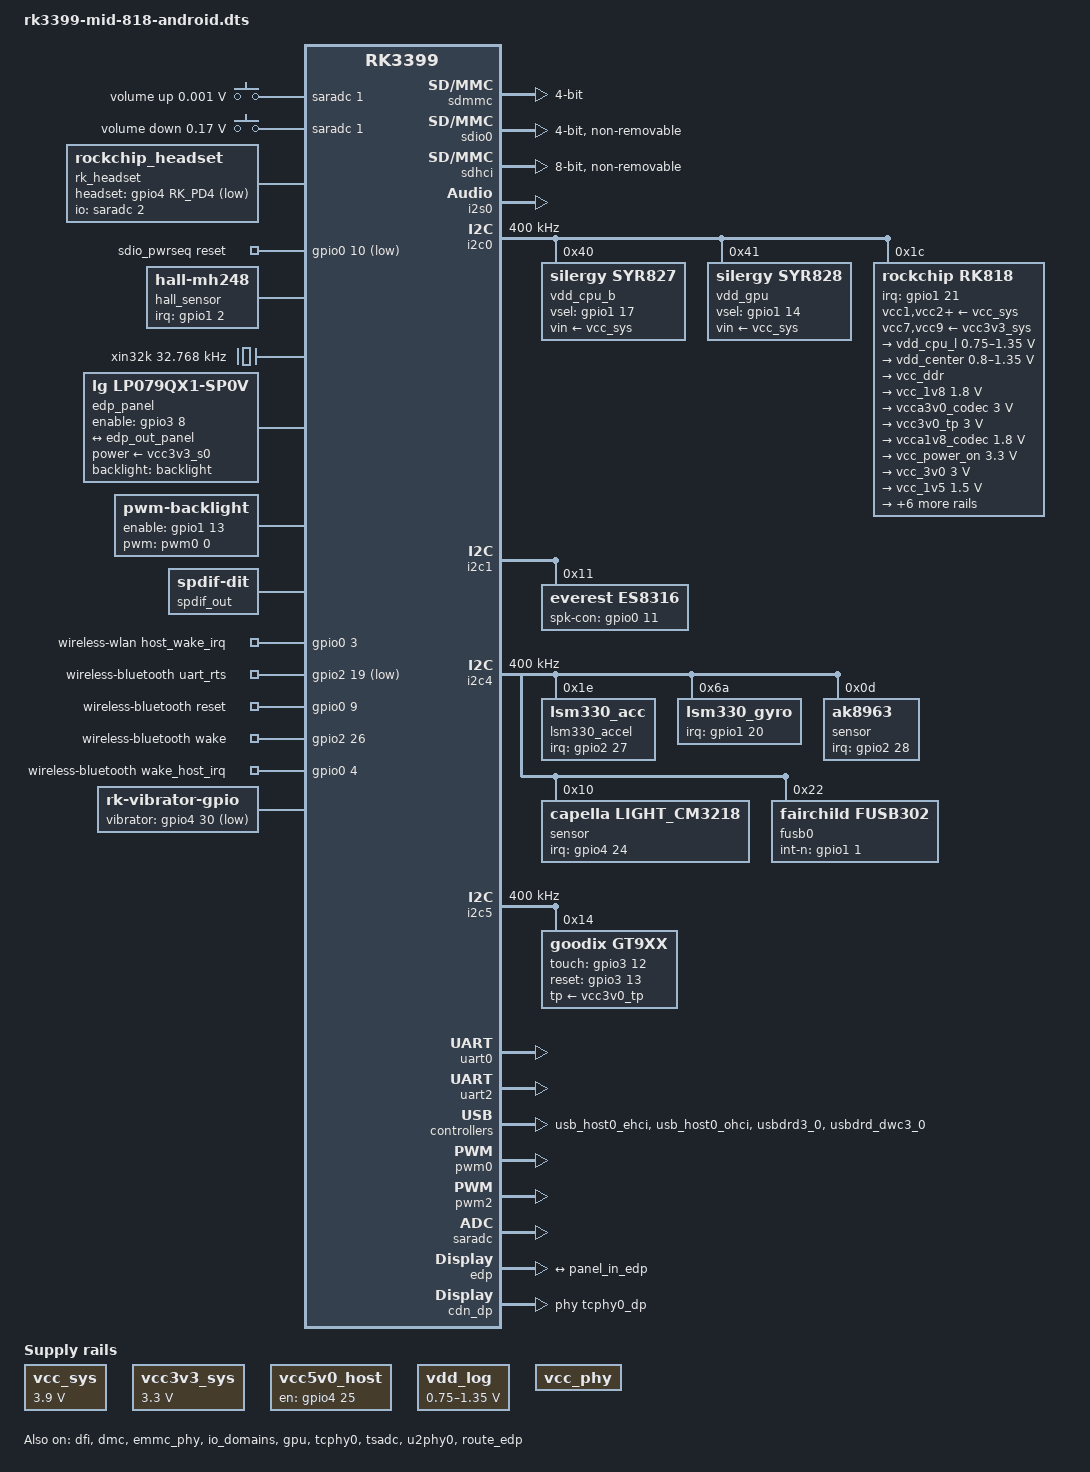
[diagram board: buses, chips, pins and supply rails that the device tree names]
/*
 * Copyright (c) 2016 Fuzhou Rockchip Electronics Co., Ltd
 *
 * This file is dual-licensed: you can use it either under the terms
 * of the GPL or the X11 license, at your option. Note that this dual
 * licensing only applies to this file, and not this project as a
 * whole.
 *
 *  a) This file is free software; you can redistribute it and/or
 *     modify it under the terms of the GNU General Public License as
 *     published by the Free Software Foundation; either version 2 of the
 *     License, or (at your option) any later version.
 *
 *     This file is distributed in the hope that it will be useful,
 *     but WITHOUT ANY WARRANTY; without even the implied warranty of
 *     MERCHANTABILITY or FITNESS FOR A PARTICULAR PURPOSE.  See the
 *     GNU General Public License for more details.
 *
 * Or, alternatively,
 *
 *  b) Permission is hereby granted, free of charge, to any person
 *     obtaining a copy of this software and associated documentation
 *     files (the "Software"), to deal in the Software without
 *     restriction, including without limitation the rights to use,
 *     copy, modify, merge, publish, distribute, sublicense, and/or
 *     sell copies of the Software, and to permit persons to whom the
 *     Software is furnished to do so, subject to the following
 *     conditions:
 *
 *     The above copyright notice and this permission notice shall be
 *     included in all copies or substantial portions of the Software.
 *
 *     THE SOFTWARE IS PROVIDED "AS IS", WITHOUT WARRANTY OF ANY KIND,
 *     EXPRESS OR IMPLIED, INCLUDING BUT NOT LIMITED TO THE WARRANTIES
 *     OF MERCHANTABILITY, FITNESS FOR A PARTICULAR PURPOSE AND
 *     NONINFRINGEMENT. IN NO EVENT SHALL THE AUTHORS OR COPYRIGHT
 *     HOLDERS BE LIABLE FOR ANY CLAIM, DAMAGES OR OTHER LIABILITY,
 *     WHETHER IN AN ACTION OF CONTRACT, TORT OR OTHERWISE, ARISING
 *     FROM, OUT OF OR IN CONNECTION WITH THE SOFTWARE OR THE USE OR
 *     OTHER DEALINGS IN THE SOFTWARE.
 */

/dts-v1/;
#include <dt-bindings/sensor-dev.h>
#include <dt-bindings/input/input.h>
#include <dt-bindings/display/mipi_dsi.h>
#include <dt-bindings/pwm/pwm.h>
#include "rk3399.dtsi"
#include "rk3399-android.dtsi"
#include "rk3399-opp.dtsi"
#include "rk3399-vop-clk-set.dtsi"

/ {
	compatible = "rockchip,rk3399-mid", "rockchip,rk3399";
	chosen: chosen {
		bootargs = "earlycon=uart8250,mmio32,0xff1a0000 console=ttyFIQ0 androidboot.baseband=N/A androidboot.veritymode=enforcing androidboot.hardware=rk30board androidboot.console=ttyFIQ0 init=/init initrd=0x62000001,0x00800000 coherent_pool=1m";
	};

	adc_keys {
		compatible = "adc-keys";
		io-channels = <&saradc 1>;
		io-channel-names = "buttons";
		keyup-threshold-microvolt = <1800000>;
		poll-interval = <100>;

		vol-up-key {
			label = "volume up";
			linux,code = <KEY_VOLUMEUP>;
			press-threshold-microvolt = <1000>;
		};

		vol-down-key {
			label = "volume down";
			linux,code = <KEY_VOLUMEDOWN>;
			press-threshold-microvolt = <170000>;
		};
	};

	rk_headset: rk-headset {
		compatible = "rockchip_headset";
		headset_gpio = <&gpio4 RK_PD4 GPIO_ACTIVE_LOW>;
		pinctrl-names = "default";
		pinctrl-0 = <&hp_det>;
		io-channels = <&saradc 2>;
	};

	charge-animation {
		compatible = "rockchip,uboot-charge";
		rockchip,uboot-charge-on = <1>;
		rockchip,android-charge-on = <0>;
		rockchip,uboot-low-power-voltage = <6700>;
		rockchip,screen-on-voltage = <6800>;
		status = "okay";
	};

	sdio_pwrseq: sdio-pwrseq {
		compatible = "mmc-pwrseq-simple";
		clocks = <&rk818 1>;
		clock-names = "ext_clock";
		pinctrl-names = "default";
		pinctrl-0 = <&wifi_enable_h>;

		/*
		 * On the module itself this is one of these (depending
		 * on the actual card populated):
		 * - SDIO_RESET_L_WL_REG_ON
		 * - PDN (power down when low)
		 */
		reset-gpios = <&gpio0 10 GPIO_ACTIVE_LOW>; /* GPIO0_B2 */
	};

	hall_sensor: hall-mh248 {
		compatible = "hall-mh248";
		pinctrl-names = "default";
		pinctrl-0 = <&mh248_irq_gpio>;
		irq-gpio = <&gpio1 2 IRQ_TYPE_EDGE_BOTH>;
		hall-active = <1>;
		status = "okay";
	};

	vcc_sys: vcc-sys {
		compatible = "regulator-fixed";
		regulator-name = "vcc_sys";
		regulator-always-on;
		regulator-boot-on;
		regulator-min-microvolt = <3900000>;
		regulator-max-microvolt = <3900000>;
	};

	vcc3v3_sys: vcc3v3-sys {
		compatible = "regulator-fixed";
		regulator-name = "vcc3v3_sys";
		regulator-always-on;
		regulator-boot-on;
		regulator-min-microvolt = <3300000>;
		regulator-max-microvolt = <3300000>;
	};

	vcc5v0_host: vcc5v0-host-regulator {
		compatible = "regulator-fixed";
		enable-active-high;
		gpio = <&gpio4 25 GPIO_ACTIVE_HIGH>;
		pinctrl-names = "default";
		pinctrl-0 = <&host_vbus_drv>;
		regulator-name = "vcc5v0_host";
		regulator-always-on;
	};

	vdd_log: vdd-log {
		compatible = "pwm-regulator";
		pwms = <&pwm2 0 25000 1>;
		rockchip,pwm_id= <2>;
		rockchip,pwm_voltage = <900000>;
		regulator-name = "vdd_log";
		regulator-min-microvolt = <750000>;
		regulator-max-microvolt = <1350000>;
		regulator-always-on;
		regulator-boot-on;
	};

	xin32k: xin32k {
		compatible = "fixed-clock";
		clock-frequency = <32768>;
		clock-output-names = "xin32k";
		#clock-cells = <0>;
	};

	edp_panel: edp-panel {
		compatible = "lg,lp079qx1-sp0v", "panel-simple";
		bus-format = <MEDIA_BUS_FMT_RGB666_1X18>;
		bpc = <6>;
		backlight = <&backlight>;
		power-supply = <&vcc3v3_s0>;
		enable-gpios = <&gpio3 8 GPIO_ACTIVE_HIGH>;
		ports {
			panel_in_edp: endpoint {
				remote-endpoint = <&edp_out_panel>;
			};
		};
	};

	backlight: backlight {
		compatible = "pwm-backlight";
		pwms = <&pwm0 0 25000 0>;
		brightness-levels = <
			255 200 199 198 197 197 196 195 194 193 193 192
			191 190 189 189 188 187 186 185 185 184 183 182
			181 181 180 179 178 177 177 176 175 174 173 173
			172 171 170 169 169 168 167 166 165 165 164 163
			162 161 161 160 159 158 157 157 156 155 154 153
			153 152 151 150 149 149 148 147 146 145 145 144
			143 142 141 141 140 139 138 137 137 136 135 134
			133 133 132 131 130 129 129 128 127 126 125 125
			124 123 122 121 121 120 119 118 117 117 116 115
			114 113 113 112 111 110 109 109 108 107 106 105
			105 104 103 102 101 101 100  99  98  97  97  96
			 95  94  93  93  92  91  90  89  89  88  87  86
			 85  85  84  83  82  81  81  80  79  78  77  77
			 76  75  74  73  73  72  71  70  69  69  68  67
			 66  65  65  64  63  62  61  61  60  59  58  57
			 57  56  55  54  53  53  52  51  50  49  49  48
			 47  46  45  45  44  43  42  41  41  40  39  38
			 37  37  36  35  34  33  33  32  31  30  29  29
			 28  27  26  25  25  24  23  22  21  21  20  19
			 18  17  17  16  15  14  13  13  12  11  10   9
			  9   8   7   6   5   5   4   3   2   1   1   0
			  0   0   0   0>;
		default-brightness-level = <200>;
		enable-gpios = <&gpio1 13 GPIO_ACTIVE_HIGH>;
	};

	vcc_phy: vcc-phy-regulator {
		compatible = "regulator-fixed";
		regulator-name = "vcc_phy";
		regulator-always-on;
		regulator-boot-on;
	};

	es8316-sound {
		compatible = "simple-audio-card";
		simple-audio-card,format = "i2s";
		simple-audio-card,name = "rockchip,es8316-codec";
		simple-audio-card,mclk-fs = <256>;
		simple-audio-card,widgets =
			"Microphone", "Mic Jack",
			"Headphone", "Headphone Jack";
		simple-audio-card,routing =
			"Mic Jack", "MICBIAS1",
			"IN1P", "Mic Jack",
			"Headphone Jack", "HPOL",
			"Headphone Jack", "HPOR";
		simple-audio-card,cpu {
			sound-dai = <&i2s0>;
		};
		simple-audio-card,codec {
			sound-dai = <&es8316>;
		};
	};

	spdif-sound {
		compatible = "simple-audio-card";
		simple-audio-card,name = "rockchip,spdif";
		simple-audio-card,cpu {
			sound-dai = <&spdif>;
		};
		simple-audio-card,codec {
			sound-dai = <&spdif_out>;
		};
	};

	spdif_out: spdif-out {
		compatible = "linux,spdif-dit";
		#sound-dai-cells = <0>;
	};

	sdio_pwrseq: sdio-pwrseq {
		compatible = "mmc-pwrseq-simple";
		clocks = <&rk818 1>;
		clock-names = "ext_clock";
		pinctrl-names = "default";
		pinctrl-0 = <&wifi_enable_h>;

		/*
		 * On the module itself this is one of these (depending
		 * on the actual card populated):
		 * - SDIO_RESET_L_WL_REG_ON
		 * - PDN (power down when low)
		 */
		reset-gpios = <&gpio0 10 GPIO_ACTIVE_LOW>; /* GPIO0_B2 */
	};

	wireless-wlan {
		compatible = "wlan-platdata";
		rockchip,grf = <&grf>;
		wifi_chip_type = "ap6354";
		sdio_vref = <1800>;
		WIFI,host_wake_irq = <&gpio0 3 GPIO_ACTIVE_HIGH>; /* GPIO0_a3 */
		status = "okay";
	};

	wireless-bluetooth {
		compatible = "bluetooth-platdata";
		clocks = <&rk818 1>;
		clock-names = "ext_clock";
		//wifi-bt-power-toggle;
		uart_rts_gpios = <&gpio2 19 GPIO_ACTIVE_LOW>; /* GPIO2_C3 */
		pinctrl-names = "default", "rts_gpio";
		pinctrl-0 = <&uart0_rts>, <&bt_reset_gpio>, <&bt_wake_gpio>, <&bt_irq_gpio>;
		pinctrl-1 = <&uart0_gpios>;
		//BT,power_gpio  = <&gpio3 19 GPIO_ACTIVE_HIGH>; /* GPIOx_xx */
		BT,reset_gpio    = <&gpio0 9 GPIO_ACTIVE_HIGH>; /* GPIO0_B1 */
		BT,wake_gpio     = <&gpio2 26 GPIO_ACTIVE_HIGH>; /* GPIO2_D2 */
		BT,wake_host_irq = <&gpio0 4 GPIO_ACTIVE_HIGH>; /* GPIO0_A4 */
		status = "okay";
	};

	vibrator {
		compatible = "rk-vibrator-gpio";
		vibrator-gpio = <&gpio4 30 GPIO_ACTIVE_LOW>;
		status = "okay";
	};

};

&dfi {
	status = "okay";
};

&dmc {
	status = "okay";
	center-supply = <&vdd_center>;
	upthreshold = <40>;
	downdifferential = <20>;
	system-status-freq = <
		/*system status         freq(KHz)*/
		SYS_STATUS_NORMAL       800000
		SYS_STATUS_REBOOT       528000
		SYS_STATUS_SUSPEND      200000
		SYS_STATUS_VIDEO_1080P  200000
		SYS_STATUS_VIDEO_4K     600000
		SYS_STATUS_VIDEO_4K_10B 800000
		SYS_STATUS_PERFORMANCE  800000
		SYS_STATUS_BOOST        600000
		SYS_STATUS_DUALVIEW     600000
		SYS_STATUS_ISP          600000
	>;
	vop-bw-dmc-freq = <
	/* min_bw(MB/s) max_bw(MB/s) freq(KHz) */
		0       762      200000
		763     1893     400000
		1894    3012     528000
		3013    99999    800000
	>;

	auto-min-freq = <200000>;
};

&sdmmc {
	clock-frequency = <50000000>;
	clock-freq-min-max = <400000 150000000>;
	supports-sd;
	bus-width = <4>;
	cap-mmc-highspeed;
	cap-sd-highspeed;
	disable-wp;
	num-slots = <1>;
	//sd-uhs-sdr104;
	vqmmc-supply = <&vcc_sd>;
	pinctrl-names = "default";
	pinctrl-0 = <&sdmmc_clk &sdmmc_cmd &sdmmc_cd &sdmmc_bus4>;
	status = "okay";
};

&sdio0 {
	clock-frequency = <150000000>;
	clock-freq-min-max = <200000 150000000>;
	supports-sdio;
	bus-width = <4>;
	disable-wp;
	cap-sd-highspeed;
	cap-sdio-irq;
	keep-power-in-suspend;
	mmc-pwrseq = <&sdio_pwrseq>;
	non-removable;
	num-slots = <1>;
	pinctrl-names = "default";
	pinctrl-0 = <&sdio0_bus4 &sdio0_cmd &sdio0_clk>;
	sd-uhs-sdr104;
	status = "okay";
};

&emmc_phy {
	status = "okay";
};

&sdhci {
	bus-width = <8>;
	mmc-hs400-1_8v;
	supports-emmc;
	non-removable;
	keep-power-in-suspend;
	mmc-hs400-enhanced-strobe;
	status = "okay";
};

&i2s0 {
	status = "okay";
	rockchip,i2s-broken-burst-len;
	rockchip,playback-channels = <8>;
	rockchip,capture-channels = <8>;
	#sound-dai-cells = <0>;
};

&i2s2 {
	#sound-dai-cells = <0>;
};

&spdif {
	status = "disabled";
	#sound-dai-cells = <0>;
};

&i2c0 {
	status = "okay";
	i2c-scl-rising-time-ns = <180>;
	i2c-scl-falling-time-ns = <30>;
	clock-frequency = <400000>;

	vdd_cpu_b: syr837@40 {
		compatible = "silergy,syr827";
		reg = <0x40>;
		vin-supply = <&vcc_sys>;
		regulator-compatible = "fan53555-reg";
		pinctrl-0 = <&vsel1_gpio>;
		vsel-gpios = <&gpio1 17 GPIO_ACTIVE_HIGH>;
		regulator-name = "vdd_cpu_b";
		regulator-min-microvolt = <712500>;
		regulator-max-microvolt = <1500000>;
		regulator-ramp-delay = <1000>;
		fcs,suspend-voltage-selector = <1>;
		regulator-always-on;
		regulator-initial-state = <3>;
		regulator-state-mem {
			regulator-off-in-suspend;
		};
	};

	vdd_gpu: syr828@41 {
		compatible = "silergy,syr828";
		status = "okay";
		reg = <0x41>;
		vin-supply = <&vcc_sys>;
		regulator-compatible = "fan53555-reg";
		pinctrl-0 = <&vsel2_gpio>;
		vsel-gpios = <&gpio1 14 GPIO_ACTIVE_HIGH>;
		regulator-name = "vdd_gpu";
		regulator-min-microvolt = <735000>;
		regulator-max-microvolt = <1400000>;
		regulator-ramp-delay = <1000>;
		fcs,suspend-voltage-selector = <1>;
		regulator-always-on;
		regulator-boot-on;
		regulator-state-mem {
			regulator-off-in-suspend;
		};
	};

	rk818: pmic@1c {
		compatible = "rockchip,rk818";
		status = "okay";
		reg = <0x1c>;
		clock-output-names = "rk818-clkout1", "wifibt_32kin";
		interrupt-parent = <&gpio1>;
		interrupts = <21 IRQ_TYPE_LEVEL_LOW>;
		pinctrl-names = "default";
		pinctrl-0 = <&pmic_int_l>;
		rockchip,system-power-controller;
		rk818,support_dc_chg = <1>;/*1: dc chg; 0:usb chg*/
		wakeup-source;
		extcon = <&fusb0>;
		#clock-cells = <1>;

		vcc1-supply = <&vcc_sys>;
		vcc2-supply = <&vcc_sys>;
		vcc3-supply = <&vcc_sys>;
		vcc4-supply = <&vcc_sys>;
		vcc6-supply = <&vcc_sys>;
		vcc7-supply = <&vcc3v3_sys>;
		vcc8-supply = <&vcc_sys>;
		vcc9-supply = <&vcc3v3_sys>;

		regulators {
			vdd_cpu_l: DCDC_REG1 {
				regulator-name = "vdd_cpu_l";
				regulator-always-on;
				regulator-boot-on;
				regulator-min-microvolt = <750000>;
				regulator-max-microvolt = <1350000>;
				regulator-ramp-delay = <6001>;
				regulator-state-mem {
					regulator-off-in-suspend;
				};
			};

			vdd_center: DCDC_REG2 {
				regulator-name = "vdd_center";
				regulator-always-on;
				regulator-boot-on;
				regulator-min-microvolt = <800000>;
				regulator-max-microvolt = <1350000>;
				regulator-ramp-delay = <6001>;
				regulator-state-mem {
					regulator-off-in-suspend;
				};
			};

			vcc_ddr: DCDC_REG3 {
				regulator-name = "vcc_ddr";
				regulator-always-on;
				regulator-boot-on;
				regulator-state-mem {
					regulator-on-in-suspend;
				};
			};

			vcc_1v8: DCDC_REG4 {
				regulator-name = "vcc_1v8";
				regulator-always-on;
				regulator-boot-on;
				regulator-min-microvolt = <1800000>;
				regulator-max-microvolt = <1800000>;
				regulator-state-mem {
					regulator-on-in-suspend;
					regulator-suspend-microvolt = <1800000>;
				};
			};

			vcca3v0_codec: LDO_REG1 {
				regulator-always-on;
				regulator-boot-on;
				regulator-min-microvolt = <3000000>;
				regulator-max-microvolt = <3000000>;
				regulator-name = "vcca3v0_codec";
				regulator-state-mem {
					regulator-off-in-suspend;
				};
			};

			vcc3v0_tp: LDO_REG2 {
				regulator-always-on;
				regulator-boot-on;
				regulator-min-microvolt = <3000000>;
				regulator-max-microvolt = <3000000>;
				regulator-name = "vcc3v0_tp";
				regulator-state-mem {
					regulator-off-in-suspend;
				};
			};

			vcca1v8_codec: LDO_REG3 {
				regulator-always-on;
				regulator-boot-on;
				regulator-min-microvolt = <1800000>;
				regulator-max-microvolt = <1800000>;
				regulator-name = "vcca1v8_codec";
				regulator-state-mem {
					regulator-off-in-suspend;
				};
			};

			vcc_power_on: LDO_REG4 {
				regulator-always-on;
				regulator-boot-on;
				regulator-min-microvolt = <3300000>;
				regulator-max-microvolt = <3300000>;
				regulator-name = "vcc_power_on";
				regulator-state-mem {
					regulator-on-in-suspend;
					regulator-suspend-microvolt = <3300000>;
				};
			};

			vcc_3v0: LDO_REG5 {
				regulator-always-on;
				regulator-boot-on;
				regulator-min-microvolt = <3000000>;
				regulator-max-microvolt = <3000000>;
				regulator-name = "vcc_3v0";
				regulator-state-mem {
					regulator-on-in-suspend;
					regulator-suspend-microvolt = <3000000>;
				};
			};

			vcc_1v5: LDO_REG6 {
				regulator-always-on;
				regulator-boot-on;
				regulator-min-microvolt = <1500000>;
				regulator-max-microvolt = <1500000>;
				regulator-name = "vcc_1v5";
				regulator-state-mem {
					regulator-on-in-suspend;
					regulator-suspend-microvolt = <1500000>;
				};
			};

			vcc1v8_dvp: LDO_REG7 {
				regulator-always-on;
				regulator-boot-on;
				regulator-min-microvolt = <1800000>;
				regulator-max-microvolt = <1800000>;
				regulator-name = "vcc1v8_dvp";
				regulator-state-mem {
					regulator-off-in-suspend;
				};
			};

			vcc3v3_s3: LDO_REG8 {
				regulator-always-on;
				regulator-boot-on;
				regulator-min-microvolt = <3300000>;
				regulator-max-microvolt = <3300000>;
				regulator-name = "vcc3v3_s3";
				regulator-state-mem {
					regulator-off-in-suspend;
				};
			};

			vcc_sd: LDO_REG9 {
				regulator-always-on;
				regulator-boot-on;
				regulator-min-microvolt = <1800000>;
				regulator-max-microvolt = <3000000>;
				regulator-name = "vcc_sd";
				regulator-state-mem {
					regulator-on-in-suspend;
					regulator-suspend-microvolt = <3000000>;
				};
			};

			vcc3v3_s0: SWITCH_REG {
				regulator-always-on;
				regulator-boot-on;
				regulator-name = "vcc3v3_s0";
				regulator-state-mem {
					regulator-on-in-suspend;
				};
			};

			boost_otg: DCDC_BOOST {
				regulator-name = "boost_otg";
				regulator-always-on;
				regulator-boot-on;
				regulator-min-microvolt = <5000000>;
				regulator-max-microvolt = <5000000>;
				regulator-state-mem {
					regulator-on-in-suspend;
					regulator-suspend-microvolt = <5000000>;
				};
			};

			otg_switch: OTG_SWITCH {
				regulator-name = "otg_switch";
			};
		};

		battery {
			compatible = "rk818-battery";
			ocv_table = <3400 3675 3689 3716 3740 3756 3768 3780
				3793 3807 3827 3853 3896 3937 3974 4007 4066
				4110 4161 4217 4308>;
			design_capacity = <7916>;
			design_qmax = <8708>;
			bat_res = <65>;
			max_input_current = <3000>;
			max_chrg_current = <3000>;
			max_chrg_voltage = <4350>;
			sleep_enter_current = <300>;
			sleep_exit_current = <300>;
			power_off_thresd = <3400>;
			zero_algorithm_vol = <3950>;
			fb_temperature = <105>;
			sample_res = <20>;
			max_soc_offset = <60>;
			energy_mode = <0>;
			monitor_sec = <5>;
			virtual_power = <0>;
			power_dc2otg = <0>;
		};
	};
};

&i2c1 {
	status = "okay";
	i2c-scl-rising-time-ns = <140>;
	i2c-scl-falling-time-ns = <30>;

	es8316: es8316@10 {
		#sound-dai-cells = <0>;
		compatible = "everest,es8316";
		reg = <0x11>;
		clocks = <&cru SCLK_I2S_8CH_OUT>;
		clock-names = "mclk";
		pinctrl-names = "default";
		pinctrl-0 = <&i2s_8ch_mclk>;
		spk-con-gpio = <&gpio0 11 GPIO_ACTIVE_HIGH>;
	};
};

&i2c4 {
	status = "okay";
	i2c-scl-rising-time-ns = <345>;
	i2c-scl-falling-time-ns = <11>;
	clock-frequency = <400000>;

	lsm330_accel@1e {
		status = "okay";
		compatible = "lsm330_acc";
		pinctrl-names = "default";
		pinctrl-0 = <&lsm330a_irq_gpio>;
		reg = <0x1e>;
		irq-gpio = <&gpio2 27 IRQ_TYPE_EDGE_RISING>;
		type = <SENSOR_TYPE_ACCEL>;
		irq_enable = <1>;
		poll_delay_ms = <30>;
		power-off-in-suspend = <1>;
		layout = <4>;
	};

	lsm330_gyro@6a {
		status = "okay";
		compatible = "lsm330_gyro";
		pinctrl-names = "default";
		pinctrl-0 = <&lsm330g_irq_gpio>;
		reg = <0x6a>;
		irq-gpio = <&gpio1 20 IRQ_TYPE_EDGE_RISING>;
		type = <SENSOR_TYPE_GYROSCOPE>;
		irq_enable = <0>;
		power-off-in-suspend = <1>;
		poll_delay_ms = <30>;
	};

	mpu6500@68 {
		status = "disabled";
		compatible = "invensense,mpu6500";
		pinctrl-names = "default";
		pinctrl-0 = <&mpu6500_irq_gpio>;
		reg = <0x68>;
		irq-gpio = <&gpio2 27 IRQ_TYPE_EDGE_RISING>;
		mpu-int_config = <0x10>;
		mpu-level_shifter = <0>;
		mpu-orientation = <1 0 0 0 1 0 0 0 1>;
		orientation-x= <1>;
		orientation-y= <1>;
		orientation-z= <0>;
		support-hw-poweroff = <1>;
		mpu-debug = <1>;
	};

	sensor@0d {
		status = "okay";
		compatible = "ak8963";
		pinctrl-names = "default";
		pinctrl-0 = <&ak8963_irq_gpio>;
		reg = <0x0d>;
		type = <SENSOR_TYPE_COMPASS>;
		irq-gpio = <&gpio2 28 IRQ_TYPE_EDGE_RISING>;
		irq_enable = <0>;
		poll_delay_ms = <30>;
		layout = <3>;
	};

	sensor@10 {
		status = "okay";
		compatible = "capella,light_cm3218";
		pinctrl-names = "default";
		pinctrl-0 = <&cm3218_irq_gpio>;
		reg = <0x10>;
		type = <SENSOR_TYPE_LIGHT>;
		irq-gpio = <&gpio4 24 IRQ_TYPE_EDGE_FALLING>;
		irq_enable = <1>;
		poll_delay_ms = <30>;
	};

	fusb0: fusb30x@22 {
		compatible = "fairchild,fusb302";
		reg = <0x22>;
		pinctrl-names = "default";
		pinctrl-0 = <&fusb0_int>;
		int-n-gpios = <&gpio1 1 GPIO_ACTIVE_HIGH>;
		status = "okay";
	};
};

&i2c5 {
	status = "okay";
	i2c-scl-rising-time-ns = <150>;
	i2c-scl-falling-time-ns = <30>;
	clock-frequency = <400000>;

	gt9xx: gt9xx@14 {
		compatible = "goodix,gt9xx";
		reg = <0x14>;
		touch-gpio = <&gpio3 12 IRQ_TYPE_LEVEL_LOW>;
		reset-gpio = <&gpio3 13 GPIO_ACTIVE_HIGH>;
		max-x = <1536>;
		max-y = <2048>;
		tp-size = <970>;
		tp-supply = <&vcc3v0_tp>;
	};
};

&io_domains {
	status = "okay";

	bt656-supply = <&vcc1v8_dvp>;
	audio-supply = <&vcca1v8_codec>;
	sdmmc-supply = <&vcc_sd>;
	gpio1830-supply = <&vcc_3v0>;
};

&isp0_mmu {
	status = "okay";
};

&isp1_mmu {
	status = "okay";
};

&cpu_l0 {
	cpu-supply = <&vdd_cpu_l>;
};

&cpu_l1 {
	cpu-supply = <&vdd_cpu_l>;
};

&cpu_l2 {
	cpu-supply = <&vdd_cpu_l>;
};

&cpu_l3 {
	cpu-supply = <&vdd_cpu_l>;
};

&cpu_b0 {
	cpu-supply = <&vdd_cpu_b>;
};

&cpu_b1 {
	cpu-supply = <&vdd_cpu_b>;
};

&gpu {
	status = "okay";
	mali-supply = <&vdd_gpu>;
};

&spi1 {
	status = "disabled";
	max-freq = <50000000>;
	mpu6500@0 {
		status = "disabled";
		compatible = "inv-spi,mpu6500";
		pinctrl-names = "default";
		pinctrl-0 = <&mpu6500_irq_gpio>;
		irq-gpio = <&gpio2 27 IRQ_TYPE_EDGE_RISING>;
		reg = <0>;
		spi-max-frequency = <1000000>;
		spi-cpha;
		spi-cpol;
		mpu-int_config = <0x00>;
		mpu-level_shifter = <0>;
		mpu-orientation = <1 0 0 0 1 0 0 0 1>;
		orientation-x= <1>;
		orientation-y= <0>;
		orientation-z= <1>;
		support-hw-poweroff = <1>;
		mpu-debug = <1>;
	};
};

&tcphy0 {
	extcon = <&fusb0>;
	status = "okay";
};

&tsadc {
	rockchip,hw-tshut-mode = <1>; /* tshut mode 0:CRU 1:GPIO */
	rockchip,hw-tshut-polarity = <1>; /* tshut polarity 0:LOW 1:HIGH */
	status = "okay";
};

&u2phy0 {
	status = "okay";
	extcon = <&fusb0>;

	u2phy0_otg: otg-port {
		status = "okay";
	};

	u2phy0_host: host-port {
		phy-supply = <&vcc5v0_host>;
		status = "okay";
	};
};

&uart0 {
	pinctrl-names = "default";
	pinctrl-0 = <&uart0_xfer &uart0_cts>;
	status = "okay";
};

&uart2 {
	status = "okay";
};

&usb_host0_ehci {
	status = "okay";
};

&usb_host0_ohci {
	status = "okay";
};

&usbdrd3_0 {
	status = "okay";
};

&usbdrd_dwc3_0 {
	status = "okay";
	extcon = <&fusb0>;
};

&pwm0 {
	status = "okay";
};

&pwm2 {
	status = "okay";
	pinctrl-names = "active";
	pinctrl-0 = <&pwm2_pin_pull_down>;
};

&saradc {
	status = "okay";
};

&rockchip_suspend {
	status = "okay";
	rockchip,sleep-debug-en = <1>;
	rockchip,sleep-mode-config = <
		(0
		| RKPM_SLP_ARMPD
		| RKPM_SLP_PERILPPD
		| RKPM_SLP_DDR_RET
		| RKPM_SLP_PLLPD
		| RKPM_SLP_CENTER_PD
		| RKPM_SLP_OSC_DIS
		| RKPM_SLP_AP_PWROFF
		)
	>;
	rockchip,wakeup-config = <
		(0
		| RKPM_GPIO_WKUP_EN
		)
	>;
	rockchip,pwm-regulator-config = <
		(0
		| PWM2_REGULATOR_EN
		)
	>;
	rockchip,power-ctrl =
		<&gpio1 17 GPIO_ACTIVE_HIGH>,
		<&gpio1 14 GPIO_ACTIVE_HIGH>;
};

&pinctrl {
	sdio-pwrseq {
		wifi_enable_h: wifi-enable-h {
			rockchip,pins = <0 RK_PB2 RK_FUNC_GPIO &pcfg_pull_none>;
		};
	};

	wireless-bluetooth {
		uart0_gpios: uart0-gpios {
			rockchip,pins = <2 RK_PC3 RK_FUNC_GPIO &pcfg_pull_none>;
		};

		bt_reset_gpio: bt-reset-gpio {
			rockchip,pins = <0 RK_PB1 RK_FUNC_GPIO &pcfg_pull_none>;
		};

		bt_wake_gpio: bt-wake-gpio {
			rockchip,pins = <2 RK_PD2 RK_FUNC_GPIO &pcfg_pull_none>;
		};

		bt_irq_gpio: bt-irq-gpio {
			rockchip,pins = <0 RK_PA4 RK_FUNC_GPIO &pcfg_pull_down>;
		};
	};

	pmic {
		pmic_int_l: pmic-int-l {
			rockchip,pins =
				<1 RK_PC5 RK_FUNC_GPIO &pcfg_pull_up>;
		};

		pmic_dvs2: pmic-dvs2 {
			rockchip,pins =
				<1 RK_PC2 RK_FUNC_GPIO &pcfg_pull_down>;
		};
		vsel1_gpio: vsel1-gpio {
			rockchip,pins =
				<1 RK_PC1 RK_FUNC_GPIO &pcfg_pull_down>;
		};
		vsel2_gpio: vsel2-gpio {
			rockchip,pins =
				<1 RK_PB6 RK_FUNC_GPIO &pcfg_pull_down>;
		};
	};

	hallsensor {
		mh248_irq_gpio: mh248-irq-gpio {
			rockchip,pins = <1 RK_PA2 RK_FUNC_GPIO &pcfg_pull_up>;
		};
	};

	headphone {
		hp_det: hp-det {
			rockchip,pins = <4 RK_PD4 RK_FUNC_GPIO &pcfg_pull_up>;
		};
	};

	lsm330_a {
		lsm330a_irq_gpio: lsm330a-irq-gpio {
			rockchip,pins = <2 RK_PD3 RK_FUNC_GPIO &pcfg_pull_none>;
		};
	};

	lsm330_g {
		lsm330g_irq_gpio: lsm330g-irq-gpio {
			rockchip,pins = <1 RK_PC4 RK_FUNC_GPIO &pcfg_pull_none>;
		};
	};

	mpu6500 {
		mpu6500_irq_gpio: mpu6500-irq-gpio {
			rockchip,pins = <2 RK_PD3 RK_FUNC_GPIO &pcfg_pull_none>;
		};
	};

	ak8963 {
		ak8963_irq_gpio: ak8963-irq-gpio {
			rockchip,pins = <2 RK_PD4 RK_FUNC_GPIO &pcfg_pull_none>;
		};
	};

	cm3218 {
		cm3218_irq_gpio: cm3218-irq-gpio {
			rockchip,pins = <4 RK_PD0 RK_FUNC_GPIO &pcfg_pull_up>;
		};
	};

	usb2 {
		host_vbus_drv: host-vbus-drv {
			rockchip,pins =
				<4 RK_PD1 RK_FUNC_GPIO &pcfg_pull_none>;
		};
	};

	fusb30x {
		fusb0_int: fusb0-int {
			rockchip,pins =
				<1 RK_PA1 RK_FUNC_GPIO &pcfg_pull_up>;
		};
	};
};

&edp {
	status = "okay";
	pinctrl-names = "default";
	pinctrl-0 = <&edp_hpd>;

	ports {
		edp_out: port@1 {
			reg = <1>;
			#address-cells = <1>;
			#size-cells = <0>;
			edp_out_panel: endpoint@0 {
				reg = <0>;
				remote-endpoint = <&panel_in_edp>;
			};
		};
	};
};

&edp_in_vopl {
	status = "disabled";
};

&hdmi {
	status = "disabled";
};

&hdmi_in_vopb {
	status = "disabled";
};

&cdn_dp {
	status = "okay";
	extcon = <&fusb0>;
	phys = <&tcphy0_dp>;
};

&dp_in_vopb {
	status = "disabled";
};

&pmu_io_domains {
	status = "okay";
	pmu1830-supply = <&vcc_1v8>;
};

&route_edp {
	status = "okay";
	logo,mode = "center";
};

&vopb {
	assigned-clocks = <&cru DCLK_VOP0_DIV>;
	assigned-clock-parents = <&cru PLL_CPLL>;
};

&vopl {
	assigned-clocks = <&cru DCLK_VOP1_DIV>;
	assigned-clock-parents = <&cru PLL_VPLL>;
};
